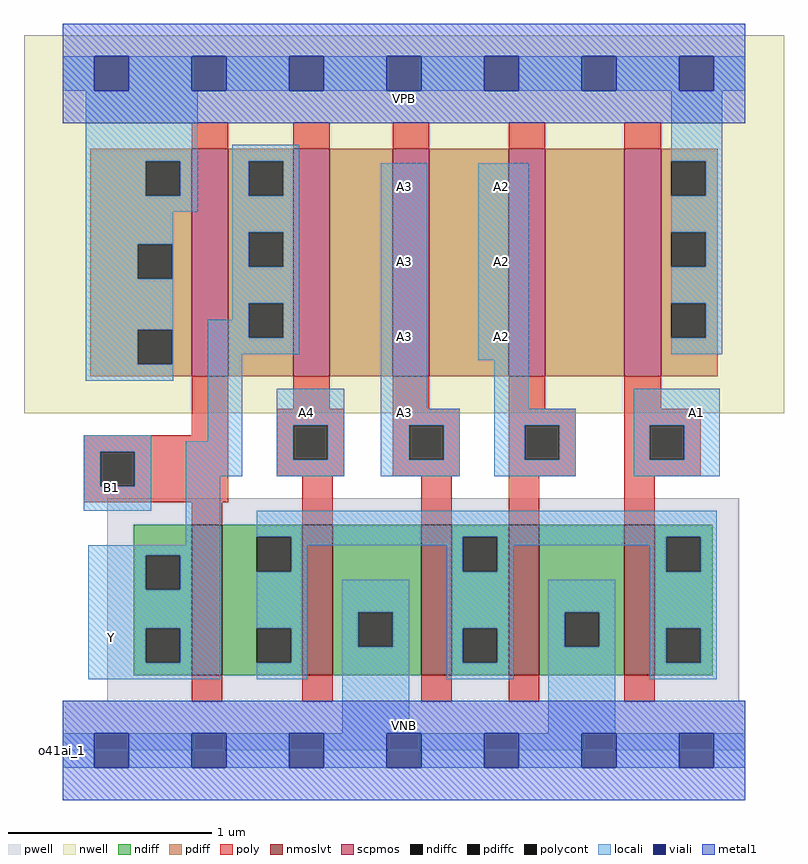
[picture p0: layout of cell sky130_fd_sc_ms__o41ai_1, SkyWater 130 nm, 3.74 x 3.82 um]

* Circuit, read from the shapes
.subckt sky130_fd_sc_ms__o41ai_1 A1 A2 A3 A4 B1 VGND VNB VPB VPWR Y
XM1 n1 B1 Y VNB sky130_fd_pr__nfet_01v8_lvt w=0.74 l=0.15
XM2 VGND A4 n1 VNB sky130_fd_pr__nfet_01v8_lvt w=0.74 l=0.15
XM3 n1 A3 VGND VNB sky130_fd_pr__nfet_01v8_lvt w=0.74 l=0.15
XM4 VGND A2 n1 VNB sky130_fd_pr__nfet_01v8_lvt w=0.74 l=0.15
XM5 n1 A1 VGND VNB sky130_fd_pr__nfet_01v8_lvt w=0.74 l=0.15
XM6 Y B1 VPWR VPB sky130_fd_pr__pfet_01v8 w=1.12 l=0.18
XM7 n2 A4 Y VPB sky130_fd_pr__pfet_01v8 w=1.12 l=0.18
XM8 n3 A3 n2 VPB sky130_fd_pr__pfet_01v8 w=1.12 l=0.18
XM9 n4 A2 n3 VPB sky130_fd_pr__pfet_01v8 w=1.12 l=0.18
XM10 VPWR A1 n4 VPB sky130_fd_pr__pfet_01v8 w=1.12 l=0.18
.ends

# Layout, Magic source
magic
tech sky130A
magscale 1 2
<< nwell >>
rect -38 332 710 704
<< pwell >>
rect 44 49 666 248
rect 0 0 672 49
<< scpmos >>
rect 127 368 163 592
rect 227 368 263 592
rect 325 368 361 592
rect 439 368 475 592
rect 553 368 589 592
<< nmoslvt >>
rect 127 74 157 222
rect 236 74 266 222
rect 353 74 383 222
rect 439 74 469 222
rect 553 74 583 222
<< ndiff >>
rect 70 192 127 222
rect 70 158 82 192
rect 116 158 127 192
rect 70 120 127 158
rect 70 86 82 120
rect 116 86 127 120
rect 70 74 127 86
rect 157 210 236 222
rect 157 176 191 210
rect 225 176 236 210
rect 157 120 236 176
rect 157 86 191 120
rect 225 86 236 120
rect 157 74 236 86
rect 266 136 353 222
rect 266 102 291 136
rect 325 102 353 136
rect 266 74 353 102
rect 383 210 439 222
rect 383 176 394 210
rect 428 176 439 210
rect 383 120 439 176
rect 383 86 394 120
rect 428 86 439 120
rect 383 74 439 86
rect 469 136 553 222
rect 469 102 494 136
rect 528 102 553 136
rect 469 74 553 102
rect 583 210 640 222
rect 583 176 594 210
rect 628 176 640 210
rect 583 120 640 176
rect 583 86 594 120
rect 628 86 640 120
rect 583 74 640 86
<< pdiff >>
rect 27 580 127 592
rect 27 546 82 580
rect 116 546 127 580
rect 27 498 127 546
rect 27 464 74 498
rect 108 464 127 498
rect 27 414 127 464
rect 27 380 74 414
rect 108 380 127 414
rect 27 368 127 380
rect 163 580 227 592
rect 163 546 183 580
rect 217 546 227 580
rect 163 510 227 546
rect 163 476 183 510
rect 217 476 227 510
rect 163 440 227 476
rect 163 406 183 440
rect 217 406 227 440
rect 163 368 227 406
rect 263 368 325 592
rect 361 368 439 592
rect 475 368 553 592
rect 589 580 645 592
rect 589 546 599 580
rect 633 546 645 580
rect 589 510 645 546
rect 589 476 599 510
rect 633 476 645 510
rect 589 440 645 476
rect 589 406 599 440
rect 633 406 645 440
rect 589 368 645 406
<< ndiffc >>
rect 82 158 116 192
rect 82 86 116 120
rect 191 176 225 210
rect 191 86 225 120
rect 291 102 325 136
rect 394 176 428 210
rect 394 86 428 120
rect 494 102 528 136
rect 594 176 628 210
rect 594 86 628 120
<< pdiffc >>
rect 82 546 116 580
rect 74 464 108 498
rect 74 380 108 414
rect 183 546 217 580
rect 183 476 217 510
rect 183 406 217 440
rect 599 546 633 580
rect 599 476 633 510
rect 599 406 633 440
<< poly >>
rect 127 592 163 618
rect 227 592 263 618
rect 325 592 361 618
rect 439 592 475 618
rect 553 592 589 618
rect 127 310 163 368
rect 227 336 263 368
rect 325 336 361 368
rect 439 336 475 368
rect 553 336 589 368
rect 21 294 163 310
rect 21 260 37 294
rect 71 260 163 294
rect 211 320 277 336
rect 211 286 227 320
rect 261 286 277 320
rect 211 270 277 286
rect 325 320 391 336
rect 325 286 341 320
rect 375 286 391 320
rect 325 270 391 286
rect 439 320 505 336
rect 439 286 455 320
rect 489 286 505 320
rect 439 270 505 286
rect 553 320 628 336
rect 553 286 578 320
rect 612 286 628 320
rect 553 270 628 286
rect 21 244 163 260
rect 127 222 157 244
rect 236 222 266 270
rect 353 222 383 270
rect 439 222 469 270
rect 553 222 583 270
rect 127 48 157 74
rect 236 48 266 74
rect 353 48 383 74
rect 439 48 469 74
rect 553 48 583 74
<< polycont >>
rect 37 260 71 294
rect 227 286 261 320
rect 341 286 375 320
rect 455 286 489 320
rect 578 286 612 320
<< locali >>
rect 0 649 31 683
rect 65 649 127 683
rect 161 649 223 683
rect 257 649 319 683
rect 353 649 415 683
rect 449 649 511 683
rect 545 649 607 683
rect 641 649 672 683
rect 23 580 133 649
rect 23 546 82 580
rect 116 546 133 580
rect 23 530 133 546
rect 167 580 233 596
rect 167 546 183 580
rect 217 546 233 580
rect 599 580 649 649
rect 23 498 109 530
rect 23 464 74 498
rect 108 464 109 498
rect 23 414 109 464
rect 167 510 233 546
rect 167 476 183 510
rect 217 476 233 510
rect 167 440 233 476
rect 167 424 183 440
rect 23 380 74 414
rect 108 380 109 414
rect 23 364 109 380
rect 143 406 183 424
rect 217 406 233 440
rect 143 390 233 406
rect 21 294 87 310
rect 143 304 177 390
rect 21 260 37 294
rect 71 260 87 294
rect 21 236 87 260
rect 121 270 177 304
rect 211 320 277 356
rect 211 286 227 320
rect 261 286 277 320
rect 211 270 277 286
rect 313 336 359 578
rect 409 384 459 578
rect 633 546 649 580
rect 599 510 649 546
rect 633 476 649 510
rect 599 440 649 476
rect 633 406 649 440
rect 599 390 649 406
rect 425 336 459 384
rect 313 320 391 336
rect 313 286 341 320
rect 375 286 391 320
rect 313 270 391 286
rect 425 320 505 336
rect 425 286 455 320
rect 489 286 505 320
rect 425 270 505 286
rect 562 320 647 356
rect 562 286 578 320
rect 612 286 647 320
rect 562 270 647 286
rect 121 202 155 270
rect 25 192 155 202
rect 25 158 82 192
rect 116 158 155 192
rect 25 120 155 158
rect 25 86 82 120
rect 116 86 155 120
rect 25 70 155 86
rect 191 210 644 236
rect 225 202 394 210
rect 225 176 241 202
rect 191 120 241 176
rect 378 176 394 202
rect 428 202 594 210
rect 428 176 444 202
rect 225 86 241 120
rect 191 70 241 86
rect 275 136 341 168
rect 275 102 291 136
rect 325 102 341 136
rect 275 17 341 102
rect 378 120 444 176
rect 578 176 594 202
rect 628 176 644 210
rect 378 86 394 120
rect 428 86 444 120
rect 378 70 444 86
rect 478 136 544 168
rect 478 102 494 136
rect 528 102 544 136
rect 478 17 544 102
rect 578 120 644 176
rect 578 86 594 120
rect 628 86 644 120
rect 578 70 644 86
rect 0 -17 31 17
rect 65 -17 127 17
rect 161 -17 223 17
rect 257 -17 319 17
rect 353 -17 415 17
rect 449 -17 511 17
rect 545 -17 607 17
rect 641 -17 672 17
<< viali >>
rect 31 649 65 683
rect 127 649 161 683
rect 223 649 257 683
rect 319 649 353 683
rect 415 649 449 683
rect 511 649 545 683
rect 607 649 641 683
rect 31 -17 65 17
rect 127 -17 161 17
rect 223 -17 257 17
rect 319 -17 353 17
rect 415 -17 449 17
rect 511 -17 545 17
rect 607 -17 641 17
<< metal1 >>
rect 0 683 672 715
rect 0 649 31 683
rect 65 649 127 683
rect 161 649 223 683
rect 257 649 319 683
rect 353 649 415 683
rect 449 649 511 683
rect 545 649 607 683
rect 641 649 672 683
rect 0 617 672 649
rect 0 17 672 49
rect 0 -17 31 17
rect 65 -17 127 17
rect 161 -17 223 17
rect 257 -17 319 17
rect 353 -17 415 17
rect 449 -17 511 17
rect 545 -17 607 17
rect 641 -17 672 17
rect 0 -49 672 -17
<< labels >>
flabel pwell s 0 0 672 49 0 FreeSans 200 0 0 0 VNB
port 7 nsew ground bidirectional
flabel nwell s 0 617 672 666 0 FreeSans 200 0 0 0 VPB
port 8 nsew power bidirectional
rlabel comment s 0 0 0 0 4 o41ai_1
flabel metal1 s 0 617 672 666 0 FreeSans 340 0 0 0 VPWR
port 9 nsew power bidirectional
flabel metal1 s 0 0 672 49 0 FreeSans 340 0 0 0 VGND
port 6 nsew ground bidirectional
flabel locali s 319 316 353 350 0 FreeSans 340 0 0 0 A3
port 3 nsew signal input
flabel locali s 319 390 353 424 0 FreeSans 340 0 0 0 A3
port 3 nsew signal input
flabel locali s 319 464 353 498 0 FreeSans 340 0 0 0 A3
port 3 nsew signal input
flabel locali s 319 538 353 572 0 FreeSans 340 0 0 0 A3
port 3 nsew signal input
flabel locali s 415 390 449 424 0 FreeSans 340 0 0 0 A2
port 2 nsew signal input
flabel locali s 415 464 449 498 0 FreeSans 340 0 0 0 A2
port 2 nsew signal input
flabel locali s 415 538 449 572 0 FreeSans 340 0 0 0 A2
port 2 nsew signal input
flabel locali s 31 242 65 276 0 FreeSans 340 0 0 0 B1
port 5 nsew signal input
flabel locali s 31 94 65 128 0 FreeSans 340 0 0 0 Y
port 10 nsew signal output
flabel locali s 223 316 257 350 0 FreeSans 340 0 0 0 A4
port 4 nsew signal input
flabel locali s 607 316 641 350 0 FreeSans 340 0 0 0 A1
port 1 nsew signal input
<< properties >>
string LEFsite unit
string LEFclass CORE
string FIXED_BBOX 0 0 672 666
string GDS_FILE $PDKPATH/libs.ref/sky130_fd_sc_ms/gds/sky130_fd_sc_ms.gds
string LEFsymmetry X Y
string GDS_END 3536894
string GDS_START 3530294
<< end >>
